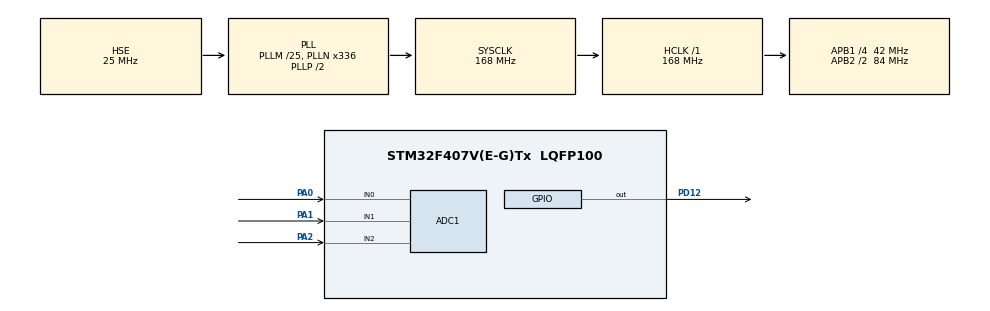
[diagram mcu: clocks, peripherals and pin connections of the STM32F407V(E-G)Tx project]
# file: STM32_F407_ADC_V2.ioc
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ADC1.Channel-0\#ChannelRegularConversion=ADC_CHANNEL_0
ADC1.Channel-1\#ChannelRegularConversion=ADC_CHANNEL_1
ADC1.Channel-2\#ChannelRegularConversion=ADC_CHANNEL_2
ADC1.ContinuousConvMode=ENABLE
ADC1.NbrOfConversion=3
ADC1.NbrOfConversionFlag=1
ADC1.Rank-0\#ChannelRegularConversion=1
ADC1.Rank-1\#ChannelRegularConversion=2
ADC1.Rank-2\#ChannelRegularConversion=3
ADC1.SamplingTime-0\#ChannelRegularConversion=ADC_SAMPLETIME_84CYCLES
ADC1.SamplingTime-1\#ChannelRegularConversion=ADC_SAMPLETIME_84CYCLES
ADC1.SamplingTime-2\#ChannelRegularConversion=ADC_SAMPLETIME_84CYCLES
ADC1.ScanConvMode=ENABLE
ADC1.master=1
Dma.ADC1.0.Direction=DMA_PERIPH_TO_MEMORY
Dma.ADC1.0.FIFOMode=DMA_FIFOMODE_DISABLE
Dma.ADC1.0.Instance=DMA2_Stream0
Dma.ADC1.0.MemDataAlignment=DMA_MDATAALIGN_WORD
Dma.ADC1.0.MemInc=DMA_MINC_ENABLE
Dma.ADC1.0.Mode=DMA_CIRCULAR
Dma.ADC1.0.PeriphDataAlignment=DMA_PDATAALIGN_WORD
Dma.ADC1.0.PeriphInc=DMA_PINC_DISABLE
Dma.ADC1.0.Priority=DMA_PRIORITY_LOW
Dma.Request0=ADC1
Mcu.Family=STM32F4
Mcu.Name=STM32F407V(E-G)Tx
Mcu.Package=LQFP100
NVIC.ADC_IRQn=true\:1\:0\:true\:false\:true\:true\:true\:true
NVIC.DMA2_Stream0_IRQn=true\:0\:0\:false\:false\:true\:false\:true\:true
NVIC.PriorityGroup=NVIC_PRIORITYGROUP_4
PA0-WKUP.Signal=ADCx_IN0
PA1.Signal=ADCx_IN1
PA13.Mode=Serial_Wire
PA13.Signal=SYS_JTMS-SWDIO
PA14.Mode=Serial_Wire
PA14.Signal=SYS_JTCK-SWCLK
PA2.Signal=ADCx_IN2
PD12.Signal=GPIO_Output
PH0-OSC_IN.Mode=HSE-External-Oscillator
PH0-OSC_IN.Signal=RCC_OSC_IN
PH1-OSC_OUT.Mode=HSE-External-Oscillator
PH1-OSC_OUT.Signal=RCC_OSC_OUT
ProjectManager.HeapSize=0x200
ProjectManager.StackSize=0x400
ProjectManager.TargetToolchain=STM32CubeIDE
RCC.48MHZClocksFreq_Value=84000000
RCC.AHBFreq_Value=168000000
RCC.APB1CLKDivider=RCC_HCLK_DIV4
RCC.APB1Freq_Value=42000000
RCC.APB1TimFreq_Value=84000000
RCC.APB2CLKDivider=RCC_HCLK_DIV2
RCC.APB2Freq_Value=84000000
RCC.APB2TimFreq_Value=168000000
RCC.CortexFreq_Value=168000000
RCC.HCLKFreq_Value=168000000
RCC.HSE_VALUE=25000000
RCC.HSI_VALUE=16000000
RCC.LSE_VALUE=32768
RCC.PLLM=25
RCC.PLLN=336
RCC.PLLSourceVirtual=RCC_PLLSOURCE_HSE
RCC.SYSCLKFreq_VALUE=168000000
RCC.SYSCLKSource=RCC_SYSCLKSOURCE_PLLCLK
RCC.VCOOutputFreq_Value=336000000
SH.ADCx_IN0.0=ADC1_IN0,IN0
SH.ADCx_IN1.0=ADC1_IN1,IN1
SH.ADCx_IN2.0=ADC1_IN2,IN2
board=custom

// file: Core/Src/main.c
/* USER CODE BEGIN Header */
/**
  ******************************************************************************
  * @file           : main.c
  * @brief          : Main program body
  ******************************************************************************
  * @attention
  *
  * Copyright (c) 2023 STMicroelectronics.
  * All rights reserved.
  *
  * This software is licensed under terms that can be found in the LICENSE file
  * in the root directory of this software component.
  * If no LICENSE file comes with this software, it is provided AS-IS.
  *
  ******************************************************************************
  */
/* USER CODE END Header */
#include "main.h"

ADC_HandleTypeDef hadc1;
DMA_HandleTypeDef hdma_adc1;

/* USER CODE BEGIN PV */
uint32_t ADC_Val[3];
uint32_t Buffer[3];
uint32_t toplam[3];
uint32_t ort[3];
uint8_t sayac = 0;
/* USER CODE END PV */

void SystemClock_Config(void);
static void MX_GPIO_Init(void);
static void MX_DMA_Init(void);
static void MX_ADC1_Init(void);

int main(void)
{

  /* MCU Configuration--------------------------------------------------------*/

  /* Reset of all peripherals, Initializes the Flash interface and the Systick. */
  HAL_Init();

  /* Configure the system clock */
  SystemClock_Config();

  /* Initialize all configured peripherals */
  MX_GPIO_Init();
  MX_DMA_Init();
  MX_ADC1_Init();
  /* USER CODE BEGIN 2 */
  HAL_ADC_Start_DMA(&hadc1,  ADC_Val, 3);

  /* USER CODE END 2 */

  /* Infinite loop */
  /* USER CODE BEGIN WHILE */
  while (1)
  {
	  if(sayac == 10)
	  {
		  ort[0] = toplam[0] / 10;
		  ort[1] = toplam[1] / 10;
		  ort[2] = toplam[2] / 10;
	  }

    /* USER CODE END WHILE */

  }
}

void SystemClock_Config(void)
{
  RCC_OscInitTypeDef RCC_OscInitStruct = {0};
  RCC_ClkInitTypeDef RCC_ClkInitStruct = {0};

  /** Configure the main internal regulator output voltage
  */
  __HAL_RCC_PWR_CLK_ENABLE();
  __HAL_PWR_VOLTAGESCALING_CONFIG(PWR_REGULATOR_VOLTAGE_SCALE1);

  /** Initializes the RCC Oscillators according to the specified parameters
  * in the RCC_OscInitTypeDef structure.
  */
  RCC_OscInitStruct.OscillatorType = RCC_OSCILLATORTYPE_HSE;
  RCC_OscInitStruct.HSEState = RCC_HSE_ON;
  RCC_OscInitStruct.PLL.PLLState = RCC_PLL_ON;
  RCC_OscInitStruct.PLL.PLLSource = RCC_PLLSOURCE_HSE;
  RCC_OscInitStruct.PLL.PLLM = 25;
  RCC_OscInitStruct.PLL.PLLN = 336;
  RCC_OscInitStruct.PLL.PLLP = RCC_PLLP_DIV2;
  RCC_OscInitStruct.PLL.PLLQ = 4;
  if (HAL_RCC_OscConfig(&RCC_OscInitStruct) != HAL_OK)
  {
    Error_Handler();
  }

  /** Initializes the CPU, AHB and APB buses clocks
  */
  RCC_ClkInitStruct.ClockType = RCC_CLOCKTYPE_HCLK|RCC_CLOCKTYPE_SYSCLK
                              |RCC_CLOCKTYPE_PCLK1|RCC_CLOCKTYPE_PCLK2;
  RCC_ClkInitStruct.SYSCLKSource = RCC_SYSCLKSOURCE_PLLCLK;
  RCC_ClkInitStruct.AHBCLKDivider = RCC_SYSCLK_DIV1;
  RCC_ClkInitStruct.APB1CLKDivider = RCC_HCLK_DIV4;
  RCC_ClkInitStruct.APB2CLKDivider = RCC_HCLK_DIV2;

  if (HAL_RCC_ClockConfig(&RCC_ClkInitStruct, FLASH_LATENCY_5) != HAL_OK)
  {
    Error_Handler();
  }
}

static void MX_ADC1_Init(void)
{

  ADC_ChannelConfTypeDef sConfig = {0};

  /** Configure the global features of the ADC (Clock, Resolution, Data Alignment and number of conversion)
  */
  hadc1.Instance = ADC1;
  hadc1.Init.ClockPrescaler = ADC_CLOCK_SYNC_PCLK_DIV4;
  hadc1.Init.Resolution = ADC_RESOLUTION_12B;
  hadc1.Init.ScanConvMode = ENABLE;
  hadc1.Init.ContinuousConvMode = ENABLE;
  hadc1.Init.DiscontinuousConvMode = DISABLE;
  hadc1.Init.ExternalTrigConvEdge = ADC_EXTERNALTRIGCONVEDGE_NONE;
  hadc1.Init.ExternalTrigConv = ADC_SOFTWARE_START;
  hadc1.Init.DataAlign = ADC_DATAALIGN_RIGHT;
  hadc1.Init.NbrOfConversion = 3;
  hadc1.Init.DMAContinuousRequests = DISABLE;
  hadc1.Init.EOCSelection = ADC_EOC_SINGLE_CONV;
  if (HAL_ADC_Init(&hadc1) != HAL_OK)
  {
    Error_Handler();
  }

  /** Configure for the selected ADC regular channel its corresponding rank in the sequencer and its sample time.
  */
  sConfig.Channel = ADC_CHANNEL_0;
  sConfig.Rank = 1;
  sConfig.SamplingTime = ADC_SAMPLETIME_84CYCLES;
  if (HAL_ADC_ConfigChannel(&hadc1, &sConfig) != HAL_OK)
  {
    Error_Handler();
  }

  /** Configure for the selected ADC regular channel its corresponding rank in the sequencer and its sample time.
  */
  sConfig.Channel = ADC_CHANNEL_1;
  sConfig.Rank = 2;
  if (HAL_ADC_ConfigChannel(&hadc1, &sConfig) != HAL_OK)
  {
    Error_Handler();
  }

  /** Configure for the selected ADC regular channel its corresponding rank in the sequencer and its sample time.
  */
  sConfig.Channel = ADC_CHANNEL_2;
  sConfig.Rank = 3;
  if (HAL_ADC_ConfigChannel(&hadc1, &sConfig) != HAL_OK)
  {
    Error_Handler();
  }

}

static void MX_DMA_Init(void)
{

  /* DMA controller clock enable */
  __HAL_RCC_DMA2_CLK_ENABLE();

  /* DMA interrupt init */
  /* DMA2_Stream0_IRQn interrupt configuration */
  HAL_NVIC_SetPriority(DMA2_Stream0_IRQn, 0, 0);
  HAL_NVIC_EnableIRQ(DMA2_Stream0_IRQn);

}

static void MX_GPIO_Init(void)
{
  GPIO_InitTypeDef GPIO_InitStruct = {0};

  /* GPIO Ports Clock Enable */
  __HAL_RCC_GPIOH_CLK_ENABLE();
  __HAL_RCC_GPIOA_CLK_ENABLE();
  __HAL_RCC_GPIOD_CLK_ENABLE();

  /*Configure GPIO pin Output Level */
  HAL_GPIO_WritePin(GPIOD, GPIO_PIN_12, GPIO_PIN_RESET);

  /*Configure GPIO pin : PD12 */
  GPIO_InitStruct.Pin = GPIO_PIN_12;
  GPIO_InitStruct.Mode = GPIO_MODE_OUTPUT_PP;
  GPIO_InitStruct.Pull = GPIO_NOPULL;
  GPIO_InitStruct.Speed = GPIO_SPEED_FREQ_LOW;
  HAL_GPIO_Init(GPIOD, &GPIO_InitStruct);

}

/* USER CODE BEGIN 4 */
void HAL_ADC_ConvCpltCallback(ADC_HandleTypeDef* hadc)
{
	for(uint8_t i =0; i<3;i++)
	{
		Buffer[i]=ADC_Val[i];

	}

	 toplam[0] += Buffer[0];
	 toplam[1] += Buffer[1];
	 toplam[2] += Buffer[2];
	 if(sayac > 10)
		 sayac = 0;

	 sayac++;

}

/* USER CODE END 4 */

void Error_Handler(void)
{
  __disable_irq();
  while (1)
  {
  }
}
